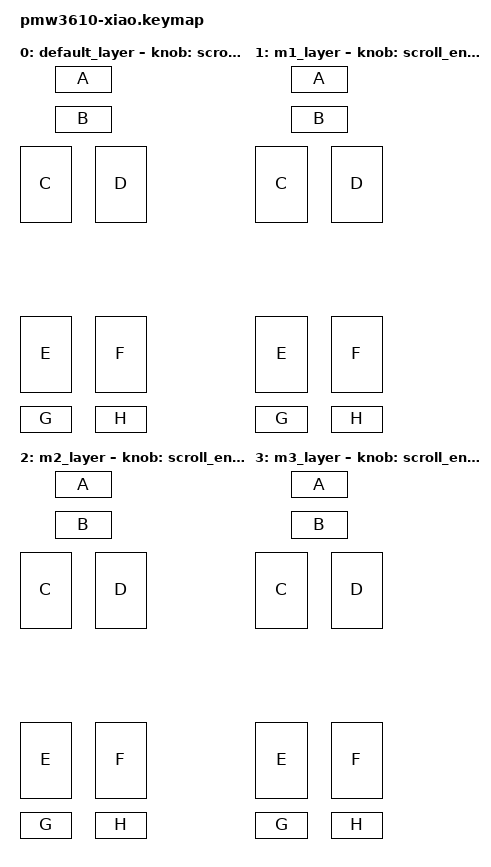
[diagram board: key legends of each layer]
#include <behaviors.dtsi>
#include <dt-bindings/zmk/keys.h>

#define ZMK_POINTING_DEFAULT_SCRL_VAL 20
#include <dt-bindings/zmk/pointing.h>

/ {
    behaviors {
        scroll_encoder: scroll_encoder {
            compatible = "zmk,behavior-sensor-rotate";
            #sensor-binding-cells = <0>;
            bindings = <&msc SCRL_DOWN>, <&msc SCRL_UP>;
            tap-ms = <100>;
        };
    };


    keymap {
        compatible = "zmk,keymap";

        default_layer {
            bindings = <
                &kp A    /* Pin 0.02 - Nút 1: Chuột trái */
                &kp B    /* Pin 0.16 - Nút 2: Chuột phải */
                &kp C    /* Pin 0.28 - Nút 3: Chuột giữa */
                &kp D     /* Pin 0.03 - Nút 4: Nút Back */
                &kp E     /* Pin 0.04 - Nút 5: Nút Forward */
                &kp F    /* Pin 0.29 - Nút 6 */
                &kp G    /* Pin 1.11 - Nút 7 */
                &kp H      /* Pin 0.05 - Nút 8 */
            >;

            sensor-bindings = <&scroll_encoder>;
        };
        m1_layer {
            bindings = <
                &kp A    /* Pin 0.02 - Nút 1: Chuột trái */
                &kp B    /* Pin 0.16 - Nút 2: Chuột phải */
                &kp C    /* Pin 0.28 - Nút 3: Chuột giữa */
                &kp D     /* Pin 0.03 - Nút 4: Nút Back */
                &kp E     /* Pin 0.04 - Nút 5: Nút Forward */
                &kp F    /* Pin 0.29 - Nút 6 */
                &kp G    /* Pin 1.11 - Nút 7 */
                &kp H      /* Pin 0.05 - Nút 8 */
            >;

            sensor-bindings = <&scroll_encoder>;
        };
        m2_layer {
            bindings = <
                &kp A    /* Pin 0.02 - Nút 1: Chuột trái */
                &kp B    /* Pin 0.16 - Nút 2: Chuột phải */
                &kp C    /* Pin 0.28 - Nút 3: Chuột giữa */
                &kp D     /* Pin 0.03 - Nút 4: Nút Back */
                &kp E     /* Pin 0.04 - Nút 5: Nút Forward */
                &kp F    /* Pin 0.29 - Nút 6 */
                &kp G    /* Pin 1.11 - Nút 7 */
                &kp H      /* Pin 0.05 - Nút 8 */
            >;

            sensor-bindings = <&scroll_encoder>;
        };
        m3_layer {
            bindings = <
                &kp A    /* Pin 0.02 - Nút 1: Chuột trái */
                &kp B    /* Pin 0.16 - Nút 2: Chuột phải */
                &kp C    /* Pin 0.28 - Nút 3: Chuột giữa */
                &kp D     /* Pin 0.03 - Nút 4: Nút Back */
                &kp E     /* Pin 0.04 - Nút 5: Nút Forward */
                &kp F    /* Pin 0.29 - Nút 6 */
                &kp G    /* Pin 1.11 - Nút 7 */
                &kp H      /* Pin 0.05 - Nút 8 */
            >;

            sensor-bindings = <&scroll_encoder>;
        };
    };
};


